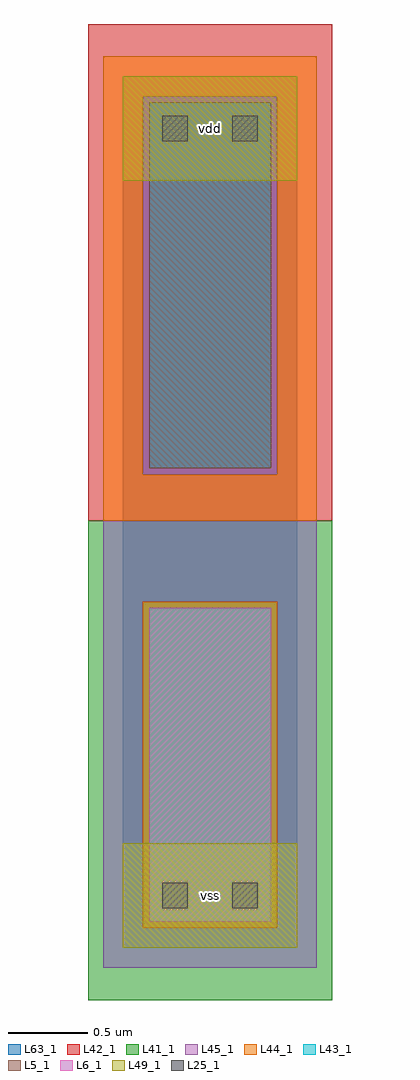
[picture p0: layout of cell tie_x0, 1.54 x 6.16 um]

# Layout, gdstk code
import gdstk
lib = gdstk.Library(unit=1e-6, precision=1e-09)
def R(c, l, rs):  # rectangles x0, y0, x1, y1
    for r in rs: c.add(gdstk.rectangle(r[:2], r[2:], *l))
L5_1 = (5, 1)
L6_1 = (6, 1)
L25_1 = (25, 1)
L41_1 = (41, 1)
L42_1 = (42, 1)
L43_1 = (43, 1)
L44_1 = (44, 1)
L45_1 = (45, 1)
L49_1 = (49, 1)
L63_1 = (63, 1)

tie_x0 = lib.new_cell('tie_x0')
R(tie_x0, L5_1, [(0.165,3.025,0.935,5.335)])
R(tie_x0, L6_1, [(0.165,0.165,0.935,2.145)])
R(tie_x0, L25_1, [(0.25,0.25,0.41,0.41), (0.69,0.25,0.85,0.41), (0.25,5.09,0.41,5.25), (0.69,5.09,0.85,5.25)])
R(tie_x0, L41_1, [(-0.22,-0.33,1.32,2.695)])
R(tie_x0, L42_1, [(-0.22,2.695,1.32,5.83)])
R(tie_x0, L43_1, [(0.165,0.165,0.935,2.145), (0.165,3.025,0.935,5.335)])
R(tie_x0, L44_1, [(0.125,0.125,0.975,2.185), (-0.125,2.695,1.225,2.985), (-0.125,2.985,0.125,5.375), (0.975,2.985,1.225,5.375), (-0.125,5.375,1.225,5.625)])
R(tie_x0, L45_1, [(-0.125,-0.125,1.225,0.125), (-0.125,0.125,0.125,2.185), (0.975,0.125,1.225,2.185), (-0.125,2.185,1.225,2.695), (0.125,2.985,0.975,5.375)])
R(tie_x0, L49_1, [(0,0,1.1,0.66), (0,4.84,1.1,5.5)])
R(tie_x0, L63_1, [(0,0,1.1,5.5)])
tie_x0.add(gdstk.Label('vss', (0.55,0.33), layer=49, texttype=1))
tie_x0.add(gdstk.Label('vss', (0.55,0.33), layer=49, texttype=1))
tie_x0.add(gdstk.Label('vdd', (0.55,5.17), layer=49, texttype=1))
tie_x0.add(gdstk.Label('vdd', (0.55,5.17), layer=49, texttype=1))

lib.write_gds('tie_x0.gds')
